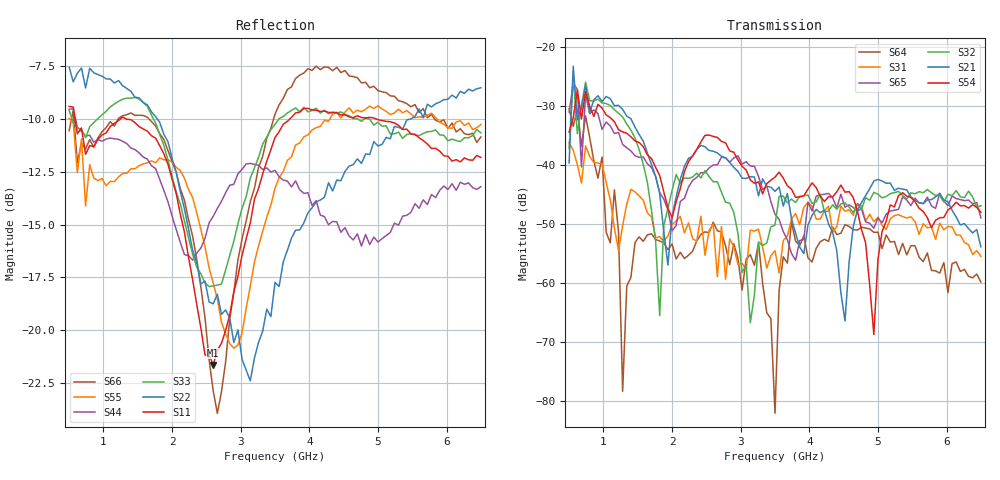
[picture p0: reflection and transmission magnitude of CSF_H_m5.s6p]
!Keysight Technologies,M9804A,MY58100912,A.14.10.03
!Date: Thursday, April 27, 2023 10:28:33
!Correction: S11(C  6-Port  )
!S12(C  6-Port  )
!S13(C  6-Port  )
!S14(C  6-Port  )
!S15(C  6-Port  )
!S16(C  6-Port  )
!S21(C  6-Port  )
!S22(C  6-Port  )
!S23(C  6-Port  )
!S24(C  6-Port  )
!S25(C  6-Port  )
!S26(C  6-Port  )
!S31(C  6-Port  )
!S32(C  6-Port  )
!S33(C  6-Port  )
!S34(C  6-Port  )
!S35(C  6-Port  )
!S36(C  6-Port  )
!S41(C  6-Port  )
!S42(C  6-Port  )
!S43(C  6-Port  )
!S44(C  6-Port  )
!S45(C  6-Port  )
!S46(C  6-Port  )
!S51(C  6-Port  )
!S52(C  6-Port  )
!S53(C  6-Port  )
!S54(C  6-Port  )
!S55(C  6-Port  )
!S56(C  6-Port  )
!S61(C  6-Port  )
!S62(C  6-Port  )
!S63(C  6-Port  )
!S64(C  6-Port  )
!S65(C  6-Port  )
!S66(C  6-Port  )
!S6P File: Measurement: :
# Hz S  RI  R 50
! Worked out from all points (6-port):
!   101 points, 500 MHz to 6.5 GHz, reference 50 ohm
!   strongest paths, dB at 500 MHz, 2 GHz, 3.5 GHz, 5 GHz, 6.5 GHz:
!     S54: -34.4, -48.9, -42.0, -56.0, -48.0
!     S21: -39.6, -48.7, -44.4, -42.4, -53.9
!     S32: -37.2, -44.3, -50.2, -44.9, -46.9
!     S65: -31.0, -51.2, -48.3, -49.0, -48.9
!     S31: -36.2, -50.1, -54.5, -48.8, -55.5
!     S64: -30.4, -53.4, -82.1, -51.4, -59.8
!   lowest |S11| = -21.6 dB at 2.6 GHz (marker M1), VSWR 1.18, Z = 42.6 + j2.05 ohm
!   |S11| at or under -10 dB: 586.8 MHz to 1.246 GHz (659.7 MHz wide, 72 % of centre); 1.334 GHz to 3.715 GHz (2.381 GHz wide, 94.3 % of centre); 4.977 GHz to end of sweep
